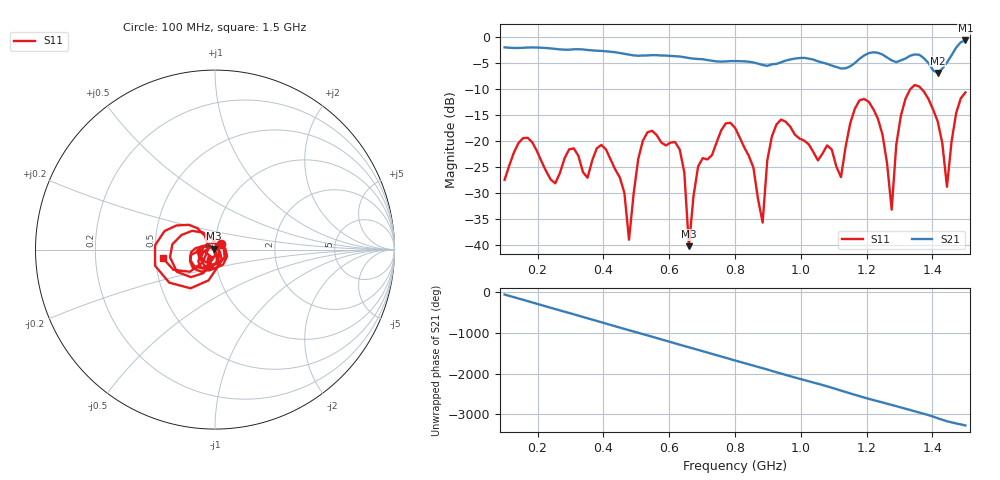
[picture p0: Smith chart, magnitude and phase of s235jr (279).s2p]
! NanoVNA-App
! Date: 2025-09-25 15:06:20
! Start: 100MHz Stop: 1,5GHz Points: 101
! S-Parameter data: F S11 S21 S12 S22
# Hz S RI R 50
!  Frequency  S11_Real  S11_Imag  S21_Real  S21_Imag  S12_Real  S12_Imag  S22_Real  S22_Imag
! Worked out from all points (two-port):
!   101 points, 100 MHz to 1.5 GHz, reference 50 ohm
!   highest |S21| = -0.64 dB at 1.5 GHz (marker M1); lowest = -6.9 dB at 1.416 GHz (marker M2)
!   |S21| within 3 dB of the highest: start of sweep to 610 MHz; 1.19 GHz to 1.255 GHz (65.18 MHz wide, 5.33 % of centre) (the widest 2 of 4)
!   lowest |S11| = -40.3 dB at 660 MHz (marker M3), VSWR 1.02, Z = 49.2 + j0.538 ohm
!   |S11| at or under -10 dB: start of sweep to 1.333 GHz; 1.367 GHz to end of sweep
!   S12 and S22 are empty: the file has one direction only
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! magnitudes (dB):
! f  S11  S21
! 100 MHz  -27.5  -2.0
! 156 MHz  -19.4  -2.1
! 338 MHz  -26.0  -2.4
! 408 MHz  -21.6  -2.7
! 478 MHz  -39.0  -3.4
! 520 MHz  -20.0  -3.5
! 576 MHz  -20.3  -3.5
! 632 MHz  -21.6  -3.7
! 660 MHz  -40.3  -4.0
! 688 MHz  -24.9  -4.2
! 800 MHz  -17.4  -4.6
! 884 MHz  -35.7  -5.4
! 926 MHz  -16.8  -5.1
! 1.038 GHz  -22.1  -4.3
! 1.122 GHz  -27.0  -6.0
! 1.206 GHz  -12.4  -3.1
! 1.276 GHz  -33.2  -4.5
! 1.29 GHz  -20.7  -4.8
! 1.332 GHz  -10.1  -3.6
! 1.416 GHz  -16.3  -6.9
! 1.444 GHz  -28.8  -4.9
! 1.5 GHz  -10.6  -0.6
